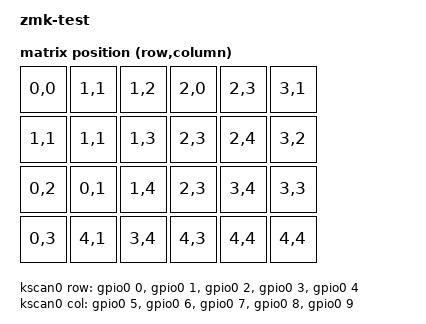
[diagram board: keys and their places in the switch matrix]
#include <dt-bindings/zmk/matrix_transform.h>

/ {
    model = "zmk-test";
    compatible = "zmk-test", "st,sparkfun_pro_micro_rp2040";

    chosen {
        zmk,kscan = &kscan0;
        zmk,matrix_transform = &default_transform;
    };

    kscan0: kscan {
        compatible = "zmk,kscan-gpio-matrix";
        label = "KSCAN";
        diode-direction = "col2row";
        
        row-gpios = <&gpio0  0 (GPIO_ACTIVE_HIGH | GPIO_PULL_DOWN)>,
                    <&gpio0  1 (GPIO_ACTIVE_HIGH | GPIO_PULL_DOWN)>,
                    <&gpio0  2 (GPIO_ACTIVE_HIGH | GPIO_PULL_DOWN)>,
                    <&gpio0  3 (GPIO_ACTIVE_HIGH | GPIO_PULL_DOWN)>,
                    <&gpio0  4 (GPIO_ACTIVE_HIGH | GPIO_PULL_DOWN)>;

        col-gpios = <&gpio0  5 GPIO_ACTIVE_HIGH>,
                    <&gpio0  6 GPIO_ACTIVE_HIGH>,
                    <&gpio0  7 GPIO_ACTIVE_HIGH>,
                    <&gpio0  8 GPIO_ACTIVE_HIGH>,
                    <&gpio0  9 GPIO_ACTIVE_HIGH>;
    };

    default_transform: matrix_transform {
        compatible = "zmk,matrix-transform";
        rows = <5>;
        columns = <5>;

        map = <
            RC(0,0) RC(1,1) RC(1,2) RC(2,0) RC(2,3) RC(3,1)
            RC(1,1) RC(1,1) RC(1,3) RC(2,3) RC(2,4) RC(3,2)
            RC(0,2) RC(0,1) RC(1,4) RC(2,3) RC(3,4) RC(3,3)
            RC(0,3) RC(4,1) RC(3,4) RC(4,3) RC(4,4) RC(4,4)
        >;
    };
};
